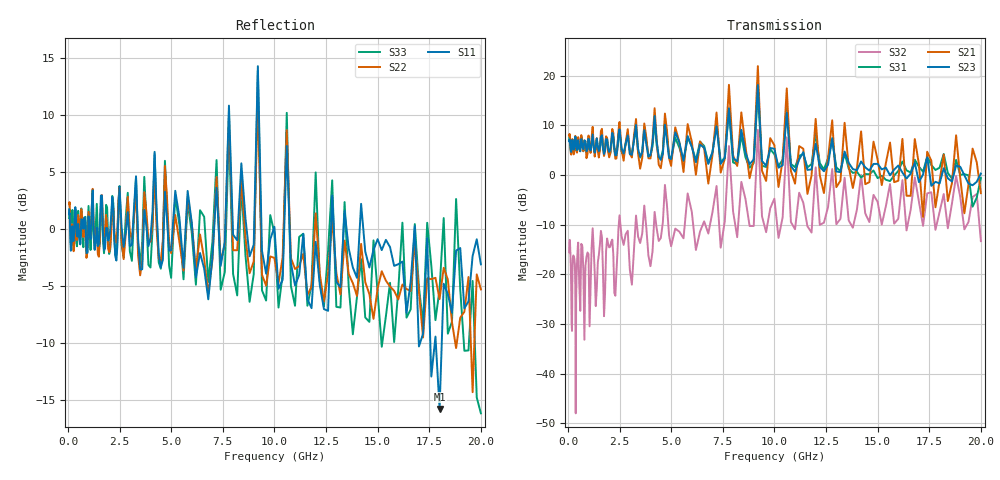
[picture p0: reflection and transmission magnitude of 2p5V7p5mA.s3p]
! Filename:  P:\Prog\Test\Noise\ATS_data\Testdata_Net\Split files Spar\BFU730_2W_B1_Bias5_2.5V_1mA_25mA_D.s2p
! Date/Time: Fri 29/Apr/2011 15:08:25
! BFU730_2W_B1_Bias5_2.5V_1mA_25mA_R.s2p
! MDIF S-parameter v. bias file
! BFU730_2W_B1_2.5V_1mA_25mA
! Date/time Thu Mar 17 13:38:09 2011
! VAR V_out= 2.5000
! VAR I_out= 7.5600
! VAR V_in= 0.7941
! VAR I_in= 0.0222
! Device data file deembeded for feedlines and parallel
! Original file: \Split files Spar\BFU730_2W_B1_Bias5_2.5V_1mA_25mA_R.s2p
! Feed-files: PR003V01_101208_Feed1.s2p, PR003V01_101208_Feed2.s2p
! Parallel-file: PR003V01_101208_Par.s2p
!3-port S-parameters
# GHz S MA R 50
!  Freq-GHz  S11-mag  S11-arg  S12-mag  S12-arg  S13-mag  S13-arg  S21-mag  S21-arg  S22-mag  S22-arg  S23-mag  S23-arg  S31-mag  S31-arg  S32-mag  S32-arg  S33-mag  S33-arg
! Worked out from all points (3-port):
!   165 points, 60 MHz to 20 GHz, reference 50 ohm
!   strongest paths, dB at 60 MHz, 1.35 GHz, 4.3 GHz, 11.8 GHz, 20 GHz:
!     S23: 6.8, 5.7, 6.8, 1.1, 0.3
!     S21: 7.9, 5.5, 7.1, -0.1, -3.6
!     S31: 7.1, 5.9, 6.0, 2.2, -0.6
!     S32: -15.5, -26.4, -10.8, -11.6, -13.3
!   lowest |S11| = -15.8 dB at 18 GHz (marker M1), VSWR 1.39, Z = 47.3 - j15.8 ohm
!   |S11| at or under -10 dB: 16.99457 GHz to 17.05112 GHz (56.55 MHz wide, 0.332 % of centre); 17.55 GHz to 17.77 GHz (215.1 MHz wide, 1.22 % of centre); 17.82 GHz to 18.1 GHz (286.7 MHz wide, 1.6 % of centre)
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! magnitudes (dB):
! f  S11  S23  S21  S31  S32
! 60 MHz  1.7  6.8  7.9  7.1  -15.5
! 200 MHz  -0.3  6.2  6.3  6.5  -31.4
! 340 MHz  1.3  7.0  7.0  6.2  -18.2
! 380 MHz  1.5  7.4  7.5  6.7  -48.0
! 480 MHz  -0.3  6.0  6.2  6.2  -14.4
! 1.2 GHz  3.4  8.2  9.7  8.2  -10.7
! 9.2 GHz  14.2  18.1  21.9  16.9  9.1
! 10.2 GHz  -5.2  1.5  -2.4  1.8  -12.7
! 18 GHz  -15.8  -1.7  -1.1  1.5  -7.5
! 20 GHz  -3.1  0.3  -3.6  -0.6  -13.3
